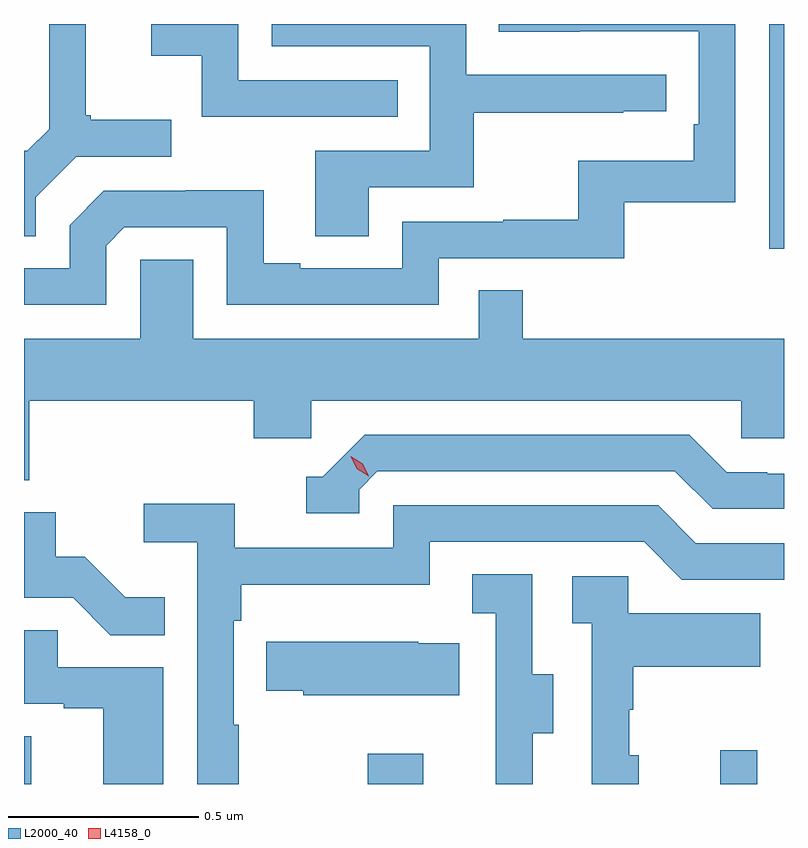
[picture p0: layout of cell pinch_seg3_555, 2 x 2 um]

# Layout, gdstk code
import gdstk
lib = gdstk.Library(unit=1e-6, precision=1e-09)
def R(c, l, rs):  # rectangles x0, y0, x1, y1
    for r in rs: c.add(gdstk.rectangle(r[:2], r[2:], *l))
def P(c, l, *ps):  # polygons
    for p in ps: c.add(gdstk.Polygon(p, *l))
L2000_40 = (2000, 40)
L4158_0 = (4158, 0)

pinch_seg3_555 = lib.new_cell('pinch_seg3_555')
R(pinch_seg3_555, L2000_40, [(1090.662,694.58,1090.681,694.706), (1091.566,694.58,1091.713,694.66), (1092.494,694.58,1092.591,694.669), (1092.623,695.988,1092.662,696.58)])
P(pinch_seg3_555, L2000_40, [(1091.569,696.15),(1091.846,696.15),(1091.846,696.346),(1092.239,696.346),(1092.239,696.351),(1092.352,696.351),(1092.352,696.447),(1091.826,696.447),(1091.826,696.58),(1091.314,696.58),(1091.314,696.522),(1091.73,696.522),(1091.73,696.246),(1091.429,696.246),(1091.429,696.022),(1091.569,696.022)],
  [(1091.645,696.432),(1091.226,696.432),(1091.226,696.58),(1090.997,696.58),(1090.997,696.497),(1091.13,696.497),(1091.13,696.336),(1091.645,696.336)],
  [(1090.878,695.997),(1090.926,696.045),(1091.196,696.045),(1091.196,695.841),(1091.754,695.841),(1091.754,695.964),(1092.241,695.964),(1092.241,696.111),(1092.534,696.111),(1092.534,696.58),(1091.911,696.58),(1091.911,696.56),(1092.125,696.56),(1092.125,696.561),(1092.438,696.561),(1092.438,696.316),(1092.425,696.316),(1092.425,696.22),(1092.12,696.22),(1092.12,696.065),(1091.923,696.065),(1091.923,696.06),(1091.658,696.06),(1091.658,695.937),(1091.389,695.937),(1091.389,695.95),(1091.293,695.95),(1091.293,696.143),(1091.088,696.143),(1091.088,696.141),(1090.872,696.141),(1090.782,696.051),(1090.782,695.937),(1090.662,695.937),(1090.662,695.841),(1090.878,695.841)],
  [(1090.693,696.124),(1090.8,696.231),(1091.05,696.231),(1091.05,696.328),(1090.837,696.328),(1090.837,696.34),(1090.825,696.34),(1090.825,696.58),(1090.728,696.58),(1090.728,696.303),(1090.671,696.246),(1090.662,696.246),(1090.662,696.022),(1090.693,696.022)],
  [(1090.676,695.588),(1091.267,695.588),(1091.267,695.49),(1091.418,695.49),(1091.418,695.588),(1092.549,695.588),(1092.549,695.49),(1092.662,695.49),(1092.662,695.752),(1091.975,695.752),(1091.975,695.879),(1091.859,695.879),(1091.859,695.752),(1091.107,695.752),(1091.107,695.96),(1090.968,695.96),(1090.968,695.752),(1090.662,695.752),(1090.662,695.38),(1090.676,695.38)],
  [(1091.544,695.355),(1091.592,695.403),(1092.375,695.403),(1092.474,695.304),(1092.662,695.304),(1092.662,695.397),(1092.618,695.397),(1092.618,695.4),(1092.511,695.4),(1092.412,695.499),(1091.559,695.499),(1091.448,695.388),(1091.405,695.388),(1091.405,695.292),(1091.544,695.292)],
  [(1091.227,694.736),(1091.214,694.736),(1091.214,695.009),(1091.234,695.009),(1091.234,695.105),(1091.73,695.105),(1091.73,695.217),(1092.294,695.217),(1092.393,695.118),(1092.662,695.118),(1092.662,695.214),(1092.43,695.214),(1092.331,695.313),(1091.634,695.313),(1091.634,695.202),(1091.216,695.202),(1091.216,695.318),(1090.977,695.318),(1090.977,695.216),(1091.118,695.216),(1091.118,694.58),(1091.227,694.58)],
  [(1091.033,695.071),(1090.929,695.071),(1090.822,695.178),(1090.746,695.178),(1090.746,695.295),(1090.662,695.295),(1090.662,695.07),(1090.791,695.07),(1090.889,694.972),(1091.033,694.972)],
  [(1092.001,694.714),(1092.055,694.714),(1092.055,694.869),(1092,694.869),(1092,695.132),(1091.841,695.132),(1091.841,695.029),(1091.904,695.029),(1091.904,694.725),(1091.903,694.725),(1091.903,694.58),(1092.001,694.58)],
  [(1092.28,694.656),(1092.255,694.656),(1092.255,694.775),(1092.265,694.775),(1092.265,694.889),(1092.599,694.889),(1092.599,695.029),(1092.252,695.029),(1092.252,695.127),(1092.105,695.127),(1092.105,695.003),(1092.156,695.003),(1092.156,694.58),(1092.28,694.58)],
  [(1091.029,694.887),(1090.751,694.887),(1090.751,694.985),(1090.662,694.985),(1090.662,694.791),(1090.767,694.791),(1090.767,694.779),(1090.871,694.779),(1090.871,694.58),(1091.029,694.58)],
  [(1091.807,694.951),(1091.699,694.951),(1091.699,694.954),(1091.299,694.954),(1091.299,694.825),(1091.397,694.825),(1091.397,694.814),(1091.807,694.814)])
P(pinch_seg3_555, L4158_0, [(1091.569,695.39),(1091.538,695.409),(1091.522,695.442),(1091.522,695.442),(1091.522,695.442),(1091.553,695.423),(1091.569,695.39),(1091.569,695.39)])

lib.write_gds('pinch_seg3_555.gds')
